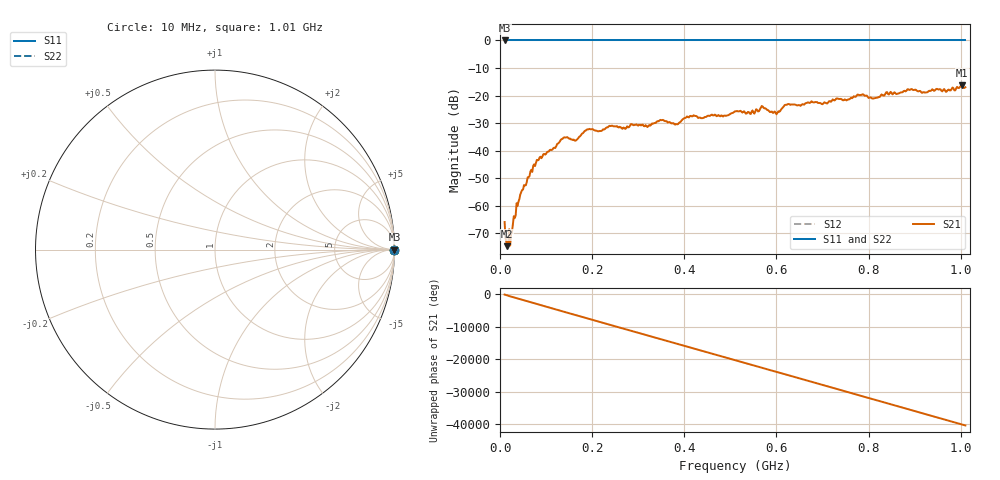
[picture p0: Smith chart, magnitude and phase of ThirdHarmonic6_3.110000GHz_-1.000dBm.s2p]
! 8/17/2025 9:12:05 AM
! C:\ANRITSUVNA\TEMP\TEMP.S2P
! CHANNEL.1
! TR.MEASUREMENT
! RAW.DATA
! RF.CORRECTION.OFF
! AVERAGING.OFF
! IF.BANDWIDTH: 5KHZ
! SWEEPTYPE:  FREQ.SWEEP(Linear)
! Reference Plane Port Info
! PORT:  PORT1  PORT2
! DISTANCE:  0  m  0  m
! TIME:  0  s  0  s
! PHASE.OFFSET:  0  deg.  0  deg.
! LOSS:  0  dB  0  dB
! REF.LOSS:  0  dB  0  dB
! REF.FREQ:  0  Hz  0  Hz
! Power Info
! POWER:  -20  dBm  -20  dBm
! EFF.POWER:  -20  dBm  -20  dBm
! SOURCE.ATTEN:  0  dB  0  dB
! TEST.ATTEN:  0  dB  0  dB
# GHZ S RI R 50.0
! FREQ.GHZ  S11RE  S11IM  S21RE  S21IM  S12RE  S12IM  S22RE  S22IM
!; PortSelection: Port_12
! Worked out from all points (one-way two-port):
!   501 points, 10 MHz to 1.01 GHz, reference 50 ohm
!   highest |S21| = -16.31 dB at 1.002 GHz (marker M1); lowest = -74.7 dB at 16 MHz (marker M2)
!   lowest |S11| = 0.0 dB at 10 MHz (marker M3)
!   |S11| at or under -10 dB: nowhere
!   |S22| runs from 0.0 to 0.0 dB; largest |S21 - S12| = 1.1
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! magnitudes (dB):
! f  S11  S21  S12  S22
! 10 MHz  0.0  -65.9  0.0  0.0
! 16 MHz  0.0  -74.7  0.0  0.0
! 26 MHz  0.0  -69.5  0.0  0.0
! 34 MHz  0.0  -63.6  0.0  0.0
! 48 MHz  0.0  -54.3  0.0  0.0
! 76 MHz  0.0  -45.6  0.0  0.0
! 136 MHz  0.0  -35.7  0.0  0.0
! 164 MHz  0.0  -36.4  0.0  0.0
! 178 MHz  0.0  -33.8  0.0  0.0
! 192 MHz  0.0  -32.3  0.0  0.0
! 322 MHz  0.0  -31.1  0.0  0.0
! 344 MHz  0.0  -29.4  0.0  0.0
! 382 MHz  0.0  -30.4  0.0  0.0
! 410 MHz  0.0  -27.9  0.0  0.0
! 510 MHz  0.0  -25.7  0.0  0.0
! 570 MHz  0.0  -24.0  0.0  0.0
! 602 MHz  0.0  -26.2  0.0  0.0
! 622 MHz  0.0  -23.3  0.0  0.0
! 678 MHz  0.0  -22.3  0.0  0.0
! 844 MHz  0.0  -19.6  0.0  0.0
! 1.002 GHz  0.0  -16.3  0.0  0.0
! 1.01 GHz  0.0  -17.0  0.0  0.0
